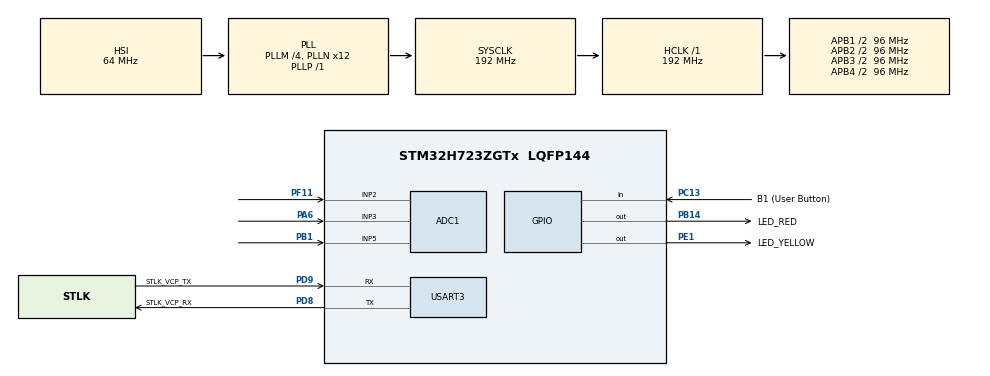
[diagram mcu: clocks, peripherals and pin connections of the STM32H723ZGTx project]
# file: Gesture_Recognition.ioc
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ADC1.Channel-0\#ChannelRegularConversion=ADC_CHANNEL_2
ADC1.Channel-1\#ChannelRegularConversion=ADC_CHANNEL_5
ADC1.Channel-2\#ChannelRegularConversion=ADC_CHANNEL_3
ADC1.ContinuousConvMode=ENABLE
ADC1.ConversionDataManagement=ADC_CONVERSIONDATA_DMA_CIRCULAR
ADC1.EOCSelection=ADC_EOC_SEQ_CONV
ADC1.NbrOfConversion=3
ADC1.NbrOfConversionFlag=1
ADC1.OffsetNumber-0\#ChannelRegularConversion=ADC_OFFSET_NONE
ADC1.OffsetNumber-1\#ChannelRegularConversion=ADC_OFFSET_NONE
ADC1.OffsetNumber-2\#ChannelRegularConversion=ADC_OFFSET_NONE
ADC1.OffsetSignedSaturation-0\#ChannelRegularConversion=DISABLE
ADC1.OffsetSignedSaturation-1\#ChannelRegularConversion=DISABLE
ADC1.OffsetSignedSaturation-2\#ChannelRegularConversion=DISABLE
ADC1.Rank-0\#ChannelRegularConversion=1
ADC1.Rank-1\#ChannelRegularConversion=2
ADC1.Rank-2\#ChannelRegularConversion=3
ADC1.SamplingTime-0\#ChannelRegularConversion=ADC_SAMPLETIME_810CYCLES_5
ADC1.SamplingTime-1\#ChannelRegularConversion=ADC_SAMPLETIME_810CYCLES_5
ADC1.SamplingTime-2\#ChannelRegularConversion=ADC_SAMPLETIME_810CYCLES_5
ADC1.master=1
CORTEX_M7.default_mode_Activation=1
Dma.ADC1.0.Direction=DMA_PERIPH_TO_MEMORY
Dma.ADC1.0.EventEnable=DISABLE
Dma.ADC1.0.FIFOMode=DMA_FIFOMODE_DISABLE
Dma.ADC1.0.Instance=DMA1_Stream0
Dma.ADC1.0.MemDataAlignment=DMA_MDATAALIGN_HALFWORD
Dma.ADC1.0.MemInc=DMA_MINC_ENABLE
Dma.ADC1.0.Mode=DMA_CIRCULAR
Dma.ADC1.0.PeriphDataAlignment=DMA_PDATAALIGN_HALFWORD
Dma.ADC1.0.PeriphInc=DMA_PINC_DISABLE
Dma.ADC1.0.Polarity=HAL_DMAMUX_REQ_GEN_RISING
Dma.ADC1.0.Priority=DMA_PRIORITY_LOW
Dma.ADC1.0.RequestNumber=1
Dma.ADC1.0.SignalID=NONE
Dma.ADC1.0.SyncEnable=DISABLE
Dma.ADC1.0.SyncPolarity=HAL_DMAMUX_SYNC_NO_EVENT
Dma.ADC1.0.SyncRequestNumber=1
Dma.ADC1.0.SyncSignalID=NONE
Dma.Request0=ADC1
Mcu.Family=STM32H7
Mcu.Name=STM32H723ZGTx
Mcu.Package=LQFP144
NVIC.ADC_IRQn=true\:0\:0\:false\:false\:true\:true\:true\:true
NVIC.DMA1_Stream0_IRQn=true\:0\:0\:false\:false\:true\:false\:true\:true
NVIC.PriorityGroup=NVIC_PRIORITYGROUP_4
NVIC.USART3_IRQn=true\:0\:0\:false\:false\:true\:true\:true\:true
PA13(JTMS/SWDIO).GPIO_Label=SWDIO
PA13(JTMS/SWDIO).Signal=DEBUG_JTMS-SWDIO
PA14(JTCK/SWCLK).GPIO_Label=SWCLK
PA14(JTCK/SWCLK).Signal=DEBUG_JTCK-SWCLK
PA6.Signal=ADCx_INP3
PB1.Signal=ADCx_INP5
PB14.GPIO_Label=LED_RED
PB14.Signal=GPIO_Output
PC13.GPIO_Label=B1 (User Button)
PC13.Signal=GPIO_Input
PC14-OSC32_IN.Signal=RCC_OSC32_IN
PC15-OSC32_OUT.Signal=RCC_OSC32_OUT
PD8.GPIO_Label=STLK_VCP_RX
PD8.Mode=Asynchronous
PD8.Signal=USART3_TX
PD9.GPIO_Label=STLK_VCP_TX
PD9.Mode=Asynchronous
PD9.Signal=USART3_RX
PE1.GPIO_Label=LED_YELLOW
PE1.Signal=GPIO_Output
PF11.Mode=IN2-Single-Ended
PF11.Signal=ADC1_INP2
ProjectManager.HeapSize=0x200
ProjectManager.StackSize=0x400
ProjectManager.TargetToolchain=STM32CubeIDE
RCC.ADCCLockSelection=RCC_ADCCLKSOURCE_PLL2
RCC.ADCFreq_Value=96000000
RCC.APB1Freq_Value=96000000
RCC.APB2Freq_Value=96000000
RCC.APB3Freq_Value=96000000
RCC.APB4Freq_Value=96000000
RCC.CECCLockSelection=RCC_CECCLKSOURCE_LSI
RCC.CKPERSourceSelection=RCC_CLKPSOURCE_HSI
RCC.CSI_VALUE=4000000
RCC.CortexFreq_Value=192000000
RCC.Cortex_DivARG=SystemCoreClock/1000
RCC.D1PPRE=RCC_APB3_DIV2
RCC.D2PPRE1=RCC_APB1_DIV2
RCC.D2PPRE2=RCC_APB2_DIV2
RCC.D3PPRE=RCC_APB4_DIV2
RCC.DFSDMCLockSelection=RCC_DFSDM1CLKSOURCE_D2PCLK1
RCC.DIVM1=4
RCC.DIVM2=4
RCC.DIVN1=12
RCC.DIVN2=12
RCC.DIVP1=1
RCC.DIVQ1=4
RCC.EXTERNAL_CLOCK_VALUE=12288000
RCC.FDCANCLockSelection=RCC_FDCANCLKSOURCE_PLL
RCC.FMCCLockSelection=RCC_FMCCLKSOURCE_D1HCLK
RCC.HCLKFreq_Value=192000000
RCC.HSE_VALUE=8000000
RCC.HSI48_VALUE=48000000
RCC.HSI_VALUE=64000000
RCC.I2C123CLockSelection=RCC_I2C1235CLKSOURCE_D2PCLK1
RCC.I2C4CLockSelection=RCC_I2C4CLKSOURCE_D3PCLK1
RCC.LPTIM1CLockSelection=RCC_LPTIM1CLKSOURCE_D2PCLK1
RCC.LPTIM2CLockSelection=RCC_LPTIM2CLKSOURCE_D3PCLK1
RCC.LPTIM345CLockSelection=RCC_LPTIM345CLKSOURCE_D3PCLK1
RCC.LPUART1CLockSelection=RCC_LPUART1CLKSOURCE_D3PCLK1
RCC.LSE_VALUE=32768
RCC.PLL2FRACN=0
RCC.PLL2_VCO_SEL-AdvancedSettings=RCC_PLL2VCOMEDIUM
RCC.PLLFRACN=0
RCC.QSPICLockSelection=RCC_OSPICLKSOURCE_D1HCLK
RCC.RCC_MCO1Source=RCC_MCO1SOURCE_HSI
RCC.RCC_MCO2Source=RCC_MCO2SOURCE_SYSCLK
RCC.RNGCLockSelection=RCC_RNGCLKSOURCE_HSI48
RCC.SAI1CLockSelection=RCC_SAI1CLKSOURCE_PLL
RCC.SAI4ACLockSelection=RCC_SAI4ACLKSOURCE_PLL
RCC.SAI4BCLockSelection=RCC_SAI4BCLKSOURCE_PLL
RCC.SPDIFCLockSelection=RCC_SPDIFRXCLKSOURCE_PLL
RCC.SPI123CLockSelection=RCC_SPI123CLKSOURCE_PLL
RCC.SPI6CLockSelection=RCC_SPI6CLKSOURCE_D3PCLK1
RCC.SWPCLockSelection=RCC_SWPMI1CLKSOURCE_D2PCLK1
RCC.SYSCLKFreq_VALUE=192000000
RCC.SYSCLKSource=RCC_SYSCLKSOURCE_PLLCLK
RCC.Spi45ClockSelection=RCC_SPI45CLKSOURCE_D2PCLK1
RCC.USART16CLockSelection=RCC_USART16910CLKSOURCE_D2PCLK2
RCC.USART234578CLockSelection=RCC_USART234578CLKSOURCE_D2PCLK1
RCC.USBCLockSelection=RCC_USBCLKSOURCE_HSI48
RCC.USBFreq_Value=48000000
SH.ADCx_INP3.0=ADC1_INP3,IN3-Single-Ended
SH.ADCx_INP5.0=ADC1_INP5,IN5-Single-Ended
USART3.VirtualMode-Asynchronous=VM_ASYNC
VP_MEMORYMAP_VS_MEMORYMAP.Mode=CurAppReg
board=NUCLEO-H723ZG

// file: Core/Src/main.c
/* USER CODE BEGIN Header */
/**
  ******************************************************************************
  * @file           : main.c
  * @brief          : Main program body
  ******************************************************************************
  * @attention
  *
  * Copyright (c) 2025 STMicroelectronics.
  * All rights reserved.
  *
  * This software is licensed under terms that can be found in the LICENSE file
  * in the root directory of this software component.
  * If no LICENSE file comes with this software, it is provided AS-IS.
  *
  ******************************************************************************
  */
/* USER CODE END Header */
#include "main.h"
#include <stdio.h>
#include "nn.h"

ADC_HandleTypeDef hadc1;
DMA_HandleTypeDef hdma_adc1;

UART_HandleTypeDef huart3;

void SystemClock_Config(void);
static void MPU_Config(void);
static void MX_GPIO_Init(void);
static void MX_DMA_Init(void);
static void MX_USART3_UART_Init(void);
static void MX_ADC1_Init(void);

/* USER CODE BEGIN 0 */
uint16_t ADC_VAL[3];
float s1 = 0.0f;
float s2 = 0.0f;
float s3 = 0.0f;
int is_adc_finished = 0;

void HAL_ADC_ConvCpltCallback(ADC_HandleTypeDef *hadc)
{
	is_adc_finished = 1;
}

float normalize_adc_value(long value) {
	float normalizedValue = (float) value / 50000.0f;

	if (normalizedValue > 1.0f) return 1.0f;

	return normalizedValue;
}

int are_sensors_valid(float sensor1, float sensor2, float sensor3)
{
	if (s1 < 0.05 && s2 < 0.05 && s3 < 0.05) return 0;

	return 1;
}

void send_sensor_data_for_training(float s1, float s2, float s3)
{
	uint8_t message[50];
	int len = sprintf(message, "s1=%f,s2=%f,s3=%f\r\n", s1, s2, s3);
	HAL_UART_Transmit(&huart3, message, len, HAL_MAX_DELAY);
}
/* USER CODE END 0 */

int main(void)
{

  /* MPU Configuration--------------------------------------------------------*/
  MPU_Config();

  /* MCU Configuration--------------------------------------------------------*/

  /* Reset of all peripherals, Initializes the Flash interface and the Systick. */
  HAL_Init();

  /* Configure the system clock */
  SystemClock_Config();

  /* Initialize all configured peripherals */
  MX_GPIO_Init();
  MX_DMA_Init();
  MX_USART3_UART_Init();
  MX_ADC1_Init();
  /* USER CODE BEGIN 2 */
  char message[160];
  HAL_ADC_Start_DMA(&hadc1, (uint32_t*) ADC_VAL, 3);

  /* USER CODE END 2 */

  /* Infinite loop */
  while (1)
  {

    /* USER CODE BEGIN 3 */
	  if (is_adc_finished == 1)
	  {
			s1 = normalize_adc_value(ADC_VAL[0]);
			s2 = normalize_adc_value(ADC_VAL[1]);
			s3 = normalize_adc_value(ADC_VAL[2]);

			float sensor_values[3] = { s1, s2, s3 };

			if (are_sensors_valid(s1, s2, s3))
			{
				char* classification = nn_predict(sensor_values);

				int length = sprintf(message,"%s\r\n", classification);

				HAL_UART_Transmit(&huart3, (uint8_t*)message, length, HAL_MAX_DELAY);
			}

	  }
	  HAL_Delay(100);
  }
  /* USER CODE END 3 */
}

void SystemClock_Config(void)
{
  RCC_OscInitTypeDef RCC_OscInitStruct = {0};
  RCC_ClkInitTypeDef RCC_ClkInitStruct = {0};

  /** Supply configuration update enable
  */
  HAL_PWREx_ConfigSupply(PWR_LDO_SUPPLY);

  /** Configure the main internal regulator output voltage
  */
  __HAL_PWR_VOLTAGESCALING_CONFIG(PWR_REGULATOR_VOLTAGE_SCALE1);

  while(!__HAL_PWR_GET_FLAG(PWR_FLAG_VOSRDY)) {}

  /** Initializes the RCC Oscillators according to the specified parameters
  * in the RCC_OscInitTypeDef structure.
  */
  RCC_OscInitStruct.OscillatorType = RCC_OSCILLATORTYPE_HSI;
  RCC_OscInitStruct.HSIState = RCC_HSI_DIV1;
  RCC_OscInitStruct.HSICalibrationValue = 64;
  RCC_OscInitStruct.PLL.PLLState = RCC_PLL_ON;
  RCC_OscInitStruct.PLL.PLLSource = RCC_PLLSOURCE_HSI;
  RCC_OscInitStruct.PLL.PLLM = 4;
  RCC_OscInitStruct.PLL.PLLN = 12;
  RCC_OscInitStruct.PLL.PLLP = 1;
  RCC_OscInitStruct.PLL.PLLQ = 4;
  RCC_OscInitStruct.PLL.PLLR = 2;
  RCC_OscInitStruct.PLL.PLLRGE = RCC_PLL1VCIRANGE_3;
  RCC_OscInitStruct.PLL.PLLVCOSEL = RCC_PLL1VCOWIDE;
  RCC_OscInitStruct.PLL.PLLFRACN = 0;
  if (HAL_RCC_OscConfig(&RCC_OscInitStruct) != HAL_OK)
  {
    Error_Handler();
  }

  /** Initializes the CPU, AHB and APB buses clocks
  */
  RCC_ClkInitStruct.ClockType = RCC_CLOCKTYPE_HCLK|RCC_CLOCKTYPE_SYSCLK
                              |RCC_CLOCKTYPE_PCLK1|RCC_CLOCKTYPE_PCLK2
                              |RCC_CLOCKTYPE_D3PCLK1|RCC_CLOCKTYPE_D1PCLK1;
  RCC_ClkInitStruct.SYSCLKSource = RCC_SYSCLKSOURCE_PLLCLK;
  RCC_ClkInitStruct.SYSCLKDivider = RCC_SYSCLK_DIV1;
  RCC_ClkInitStruct.AHBCLKDivider = RCC_HCLK_DIV1;
  RCC_ClkInitStruct.APB3CLKDivider = RCC_APB3_DIV2;
  RCC_ClkInitStruct.APB1CLKDivider = RCC_APB1_DIV2;
  RCC_ClkInitStruct.APB2CLKDivider = RCC_APB2_DIV2;
  RCC_ClkInitStruct.APB4CLKDivider = RCC_APB4_DIV2;

  if (HAL_RCC_ClockConfig(&RCC_ClkInitStruct, FLASH_LATENCY_2) != HAL_OK)
  {
    Error_Handler();
  }
}

static void MX_ADC1_Init(void)
{

  ADC_MultiModeTypeDef multimode = {0};
  ADC_ChannelConfTypeDef sConfig = {0};

  /** Common config
  */
  hadc1.Instance = ADC1;
  hadc1.Init.ClockPrescaler = ADC_CLOCK_ASYNC_DIV1;
  hadc1.Init.Resolution = ADC_RESOLUTION_16B;
  hadc1.Init.ScanConvMode = ADC_SCAN_ENABLE;
  hadc1.Init.EOCSelection = ADC_EOC_SEQ_CONV;
  hadc1.Init.LowPowerAutoWait = DISABLE;
  hadc1.Init.ContinuousConvMode = ENABLE;
  hadc1.Init.NbrOfConversion = 3;
  hadc1.Init.DiscontinuousConvMode = DISABLE;
  hadc1.Init.ExternalTrigConv = ADC_SOFTWARE_START;
  hadc1.Init.ExternalTrigConvEdge = ADC_EXTERNALTRIGCONVEDGE_NONE;
  hadc1.Init.ConversionDataManagement = ADC_CONVERSIONDATA_DMA_CIRCULAR;
  hadc1.Init.Overrun = ADC_OVR_DATA_PRESERVED;
  hadc1.Init.LeftBitShift = ADC_LEFTBITSHIFT_NONE;
  hadc1.Init.OversamplingMode = DISABLE;
  hadc1.Init.Oversampling.Ratio = 1;
  if (HAL_ADC_Init(&hadc1) != HAL_OK)
  {
    Error_Handler();
  }

  /** Configure the ADC multi-mode
  */
  multimode.Mode = ADC_MODE_INDEPENDENT;
  if (HAL_ADCEx_MultiModeConfigChannel(&hadc1, &multimode) != HAL_OK)
  {
    Error_Handler();
  }

  /** Configure Regular Channel
  */
  sConfig.Channel = ADC_CHANNEL_2;
  sConfig.Rank = ADC_REGULAR_RANK_1;
  sConfig.SamplingTime = ADC_SAMPLETIME_810CYCLES_5;
  sConfig.SingleDiff = ADC_SINGLE_ENDED;
  sConfig.OffsetNumber = ADC_OFFSET_NONE;
  sConfig.Offset = 0;
  sConfig.OffsetSignedSaturation = DISABLE;
  if (HAL_ADC_ConfigChannel(&hadc1, &sConfig) != HAL_OK)
  {
    Error_Handler();
  }

  /** Configure Regular Channel
  */
  sConfig.Channel = ADC_CHANNEL_5;
  sConfig.Rank = ADC_REGULAR_RANK_2;
  if (HAL_ADC_ConfigChannel(&hadc1, &sConfig) != HAL_OK)
  {
    Error_Handler();
  }

  /** Configure Regular Channel
  */
  sConfig.Channel = ADC_CHANNEL_3;
  sConfig.Rank = ADC_REGULAR_RANK_3;
  if (HAL_ADC_ConfigChannel(&hadc1, &sConfig) != HAL_OK)
  {
    Error_Handler();
  }

}

static void MX_USART3_UART_Init(void)
{

  huart3.Instance = USART3;
  huart3.Init.BaudRate = 115200;
  huart3.Init.WordLength = UART_WORDLENGTH_8B;
  huart3.Init.StopBits = UART_STOPBITS_1;
  huart3.Init.Parity = UART_PARITY_NONE;
  huart3.Init.Mode = UART_MODE_TX_RX;
  huart3.Init.HwFlowCtl = UART_HWCONTROL_NONE;
  huart3.Init.OverSampling = UART_OVERSAMPLING_16;
  huart3.Init.OneBitSampling = UART_ONE_BIT_SAMPLE_DISABLE;
  huart3.Init.ClockPrescaler = UART_PRESCALER_DIV1;
  huart3.AdvancedInit.AdvFeatureInit = UART_ADVFEATURE_NO_INIT;
  if (HAL_UART_Init(&huart3) != HAL_OK)
  {
    Error_Handler();
  }
  if (HAL_UARTEx_SetTxFifoThreshold(&huart3, UART_TXFIFO_THRESHOLD_1_8) != HAL_OK)
  {
    Error_Handler();
  }
  if (HAL_UARTEx_SetRxFifoThreshold(&huart3, UART_RXFIFO_THRESHOLD_1_8) != HAL_OK)
  {
    Error_Handler();
  }
  if (HAL_UARTEx_DisableFifoMode(&huart3) != HAL_OK)
  {
    Error_Handler();
  }

}

static void MX_DMA_Init(void)
{

  /* DMA controller clock enable */
  __HAL_RCC_DMA1_CLK_ENABLE();

  /* DMA interrupt init */
  /* DMA1_Stream0_IRQn interrupt configuration */
  HAL_NVIC_SetPriority(DMA1_Stream0_IRQn, 0, 0);
  HAL_NVIC_EnableIRQ(DMA1_Stream0_IRQn);

}

static void MX_GPIO_Init(void)
{
  GPIO_InitTypeDef GPIO_InitStruct = {0};

  /* GPIO Ports Clock Enable */
  __HAL_RCC_GPIOC_CLK_ENABLE();
  __HAL_RCC_GPIOA_CLK_ENABLE();
  __HAL_RCC_GPIOB_CLK_ENABLE();
  __HAL_RCC_GPIOF_CLK_ENABLE();
  __HAL_RCC_GPIOD_CLK_ENABLE();
  __HAL_RCC_GPIOE_CLK_ENABLE();

  /*Configure GPIO pin Output Level */
  HAL_GPIO_WritePin(LED_RED_GPIO_Port, LED_RED_Pin, GPIO_PIN_RESET);

  /*Configure GPIO pin Output Level */
  HAL_GPIO_WritePin(LED_YELLOW_GPIO_Port, LED_YELLOW_Pin, GPIO_PIN_RESET);

  /*Configure GPIO pin : B1_Pin */
  GPIO_InitStruct.Pin = B1_Pin;
  GPIO_InitStruct.Mode = GPIO_MODE_INPUT;
  GPIO_InitStruct.Pull = GPIO_NOPULL;
  HAL_GPIO_Init(B1_GPIO_Port, &GPIO_InitStruct);

  /*Configure GPIO pin : LED_RED_Pin */
  GPIO_InitStruct.Pin = LED_RED_Pin;
  GPIO_InitStruct.Mode = GPIO_MODE_OUTPUT_PP;
  GPIO_InitStruct.Pull = GPIO_NOPULL;
  GPIO_InitStruct.Speed = GPIO_SPEED_FREQ_LOW;
  HAL_GPIO_Init(LED_RED_GPIO_Port, &GPIO_InitStruct);

  /*Configure GPIO pin : LED_YELLOW_Pin */
  GPIO_InitStruct.Pin = LED_YELLOW_Pin;
  GPIO_InitStruct.Mode = GPIO_MODE_OUTPUT_PP;
  GPIO_InitStruct.Pull = GPIO_NOPULL;
  GPIO_InitStruct.Speed = GPIO_SPEED_FREQ_LOW;
  HAL_GPIO_Init(LED_YELLOW_GPIO_Port, &GPIO_InitStruct);

}

 /* MPU Configuration */

void MPU_Config(void)
{
  MPU_Region_InitTypeDef MPU_InitStruct = {0};

  /* Disables the MPU */
  HAL_MPU_Disable();

  /** Initializes and configures the Region and the memory to be protected
  */
  MPU_InitStruct.Enable = MPU_REGION_ENABLE;
  MPU_InitStruct.Number = MPU_REGION_NUMBER0;
  MPU_InitStruct.BaseAddress = 0x0;
  MPU_InitStruct.Size = MPU_REGION_SIZE_4GB;
  MPU_InitStruct.SubRegionDisable = 0x87;
  MPU_InitStruct.TypeExtField = MPU_TEX_LEVEL0;
  MPU_InitStruct.AccessPermission = MPU_REGION_NO_ACCESS;
  MPU_InitStruct.DisableExec = MPU_INSTRUCTION_ACCESS_DISABLE;
  MPU_InitStruct.IsShareable = MPU_ACCESS_SHAREABLE;
  MPU_InitStruct.IsCacheable = MPU_ACCESS_NOT_CACHEABLE;
  MPU_InitStruct.IsBufferable = MPU_ACCESS_NOT_BUFFERABLE;

  HAL_MPU_ConfigRegion(&MPU_InitStruct);
  /* Enables the MPU */
  HAL_MPU_Enable(MPU_PRIVILEGED_DEFAULT);

}

void Error_Handler(void)
{
  __disable_irq();
  while (1)
  {
  }
}
